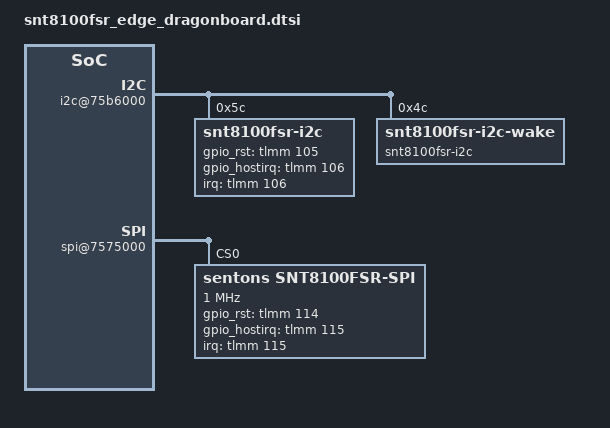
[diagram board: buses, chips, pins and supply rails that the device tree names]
/* Copyright (c) 2015-2016, The Linux Foundation. All rights reserved.
 *
 * This program is free software; you can redistribute it and/or modify
 * it under the terms of the GNU General Public License version 2 and
 * only version 2 as published by the Free Software Foundation.
 *
 * This program is distributed in the hope that it will be useful,
 * but WITHOUT ANY WARRANTY; without even the implied warranty of
 * MERCHANTABILITY or FITNESS FOR A PARTICULAR PURPOSE.  See the
 * GNU General Public License for more details.
 */

&soc {
    i2c@75b6000 { /* BLSP2 QUP2 */
        snt8100fsr-i2c@0 {
            compatible = "snt8100fsr-i2c";
            reg = <0x5c>;
            snt,i2c-freq-khz = <400>;
            snt,gpio_rst = <&tlmm 105 0x00>;
            snt,gpio_hostirq = <&tlmm 106 0x00>;
            interrupt-parent = <&tlmm>;
            interrupts = <106 0>;
            interrupt-names = "snt_hostirq";
        };
        snt8100fsr-i2c@1 {
            compatible = "snt8100fsr-i2c-wake";
            reg = <0x4c>;
            snt,i2c-freq-khz = <400>;
            wake-device;
        };
    };

    spi@7575000 { /* BLSP1 QUP1 */
        status = "ok";
        snt8100fsr-spi@0 {
            compatible = "sentons,snt8100fsr-spi";
            reg = <0>;
            spi-max-frequency = <1000000>;
            snt,spi-freq-hz = <1000000>;
            snt,gpio_rst = <&tlmm 114 0x00>;
            snt,gpio_hostirq = <&tlmm 115 0x00>;
            interrupt-parent = <&tlmm>;
            interrupts = <115 0>;
            interrupt-names = "snt_hostirq";
            pinctrl-names = "snt_reset_active", "snt_reset_reset", "snt_hostirq_active";
            pinctrl-0 = <&snt_reset_active>;
            pinctrl-1 = <&snt_reset_reset>;
            pinctrl-2 = <&snt_hostirq_active>;
        };
    };

    tlmm: pinctrl@01010000 {
        snt_reset {
            snt_reset_active: snt_reset_active {
                mux {
                    pins = "gpio114";
                    function = "gpio";
                };

                config {
                    pins = "gpio114";
                    drive-strength = <6>;
                    bias-disable;
                    output-low;
                };
            };

            snt_reset_reset: snt_reset_reset {
                mux {
                    pins = "gpio114";
                    function = "gpio";
                };

                config {
                    pins = "gpio114";
                    drive-strength = <6>;
                    bias-disable;
                    output-high;
                };
            };
        };

        snt_hostirq {
            snt_hostirq_active: snt_hostirq_active {
                mux {
                    pins = "gpio115";
                    function = "gpio";
                };

                config {
                    pins = "gpio115";
                    drive-strength = <6>;
                    bias-disable;
                    input-enable;
                };
            };
        };
    };
};

